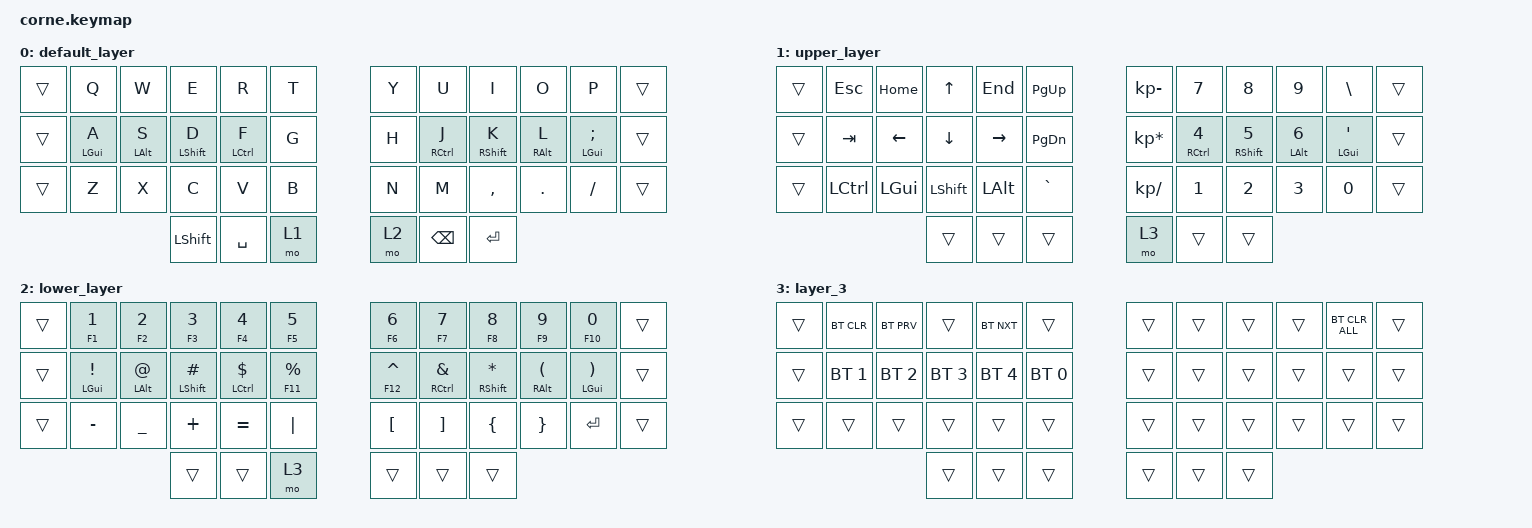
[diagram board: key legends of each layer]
#include <behaviors.dtsi>
#include <dt-bindings/zmk/bt.h>
#include <dt-bindings/zmk/keys.h>

&mt {
    tapping_term_ms = <250>;
    flavor = "tap-preferred";
    tapping-term-ms = <250>;
};

/ {
    keymap {
        compatible = "zmk,keymap";

        default_layer {
            bindings = <
&trans  &kp Q           &kp W           &kp E             &kp R        &kp T    &kp Y  &kp U          &kp I              &kp O            &kp P                   &trans
&trans  &mt LEFT_GUI A  &mt LEFT_ALT S  &mt LEFT_SHIFT D  &mt LCTRL F  &kp G    &kp H  &mt RCTRL J    &mt RIGHT_SHIFT K  &mt RIGHT_ALT L  &mt LEFT_GUI SEMICOLON  &trans
&trans  &kp Z           &kp X           &kp C             &kp V        &kp B    &kp N  &kp M          &kp COMMA          &kp DOT          &kp SLASH               &trans
                                        &kp LEFT_SHIFT    &kp SPACE    &mo 1    &mo 2  &kp BACKSPACE  &kp ENTER
            >;
        };

        upper_layer {
            bindings = <
&trans  &kp ESCAPE  &kp HOME      &kp UP_ARROW    &kp END       &kp PAGE_UP      &kp KP_SUBTRACT  &kp NUMBER_7                &kp N8                    &kp N9                 &kp BACKSLASH              &trans
&trans  &kp TAB     &kp LEFT      &kp DOWN        &kp RIGHT     &kp PAGE_DOWN    &kp KP_ASTERISK  &mt RIGHT_CONTROL NUMBER_4  &mt RIGHT_SHIFT NUMBER_5  &mt LEFT_ALT NUMBER_6  &mt LEFT_GUI SINGLE_QUOTE  &trans
&trans  &kp LCTRL   &kp LEFT_GUI  &kp LEFT_SHIFT  &kp LEFT_ALT  &kp GRAVE        &kp KP_DIVIDE    &kp NUMBER_1                &kp NUMBER_2              &kp NUMBER_3           &kp N0                     &trans
                                  &trans          &trans        &trans           &mo 3            &trans                      &trans
            >;
        };

        lower_layer {
            bindings = <
&trans  &mt F1 NUMBER_1           &mt F2 NUMBER_2       &mt F3 NUMBER_3      &mt F4 NUMBER_4   &mt F5 NUMBER_5    &mt F6 NUMBER_6   &mt F7 NUMBER_7              &mt F8 NUMBER_8           &mt F9 NUMBER_9                 &mt F10 NUMBER_0                &trans
&trans  &mt LEFT_GUI EXCLAMATION  &mt LEFT_ALT AT_SIGN  &mt LEFT_SHIFT HASH  &mt LCTRL DOLLAR  &mt F11 PERCENT    &mt F12 CARET     &mt RIGHT_CONTROL AMPERSAND  &mt RIGHT_SHIFT ASTERISK  &mt RIGHT_ALT LEFT_PARENTHESIS  &mt LEFT_GUI RIGHT_PARENTHESIS  &trans
&trans  &kp MINUS                 &kp UNDER             &kp PLUS             &kp EQUAL         &kp PIPE           &kp LEFT_BRACKET  &kp RIGHT_BRACKET            &kp LEFT_BRACE            &kp RIGHT_BRACE                 &kp ENTER                       &trans
                                                        &trans               &trans            &mo 3              &trans            &trans                       &trans
            >;
        };

        layer_3 {
            bindings = <
&trans  &bt BT_CLR    &bt BT_PRV    &trans        &bt BT_NXT    &trans          &trans  &trans  &trans  &trans  &bt BT_CLR_ALL  &trans
&trans  &bt BT_SEL 1  &bt BT_SEL 2  &bt BT_SEL 3  &bt BT_SEL 4  &bt BT_SEL 0    &trans  &trans  &trans  &trans  &trans          &trans
&trans  &trans        &trans        &trans        &trans        &trans          &trans  &trans  &trans  &trans  &trans          &trans
                                    &trans        &trans        &trans          &trans  &trans  &trans
            >;
        };
    };
};
